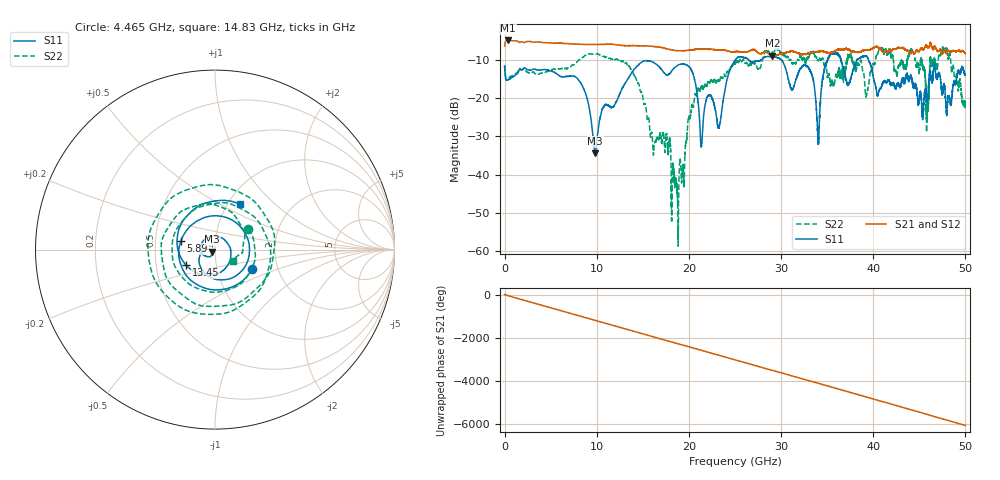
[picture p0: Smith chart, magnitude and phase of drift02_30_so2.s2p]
!Created with skrf (http://scikit-rf.org).
# Hz S RI R 50.0
!freq ReS11 ImS11 ReS21 ImS21 ReS12 ImS12 ReS22 ImS22
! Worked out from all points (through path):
!   10001 points, 300 kHz to 50 GHz, reference 50 ohm
!   highest |S21| = -5.04 dB at 375.3 MHz (marker M1); lowest = -9.0 dB at 29.06 GHz (marker M2)
!   group delay of S21, straight-line fit = 336 ps
!   lowest |S11| = -34.4 dB at 9.84 GHz (marker M3), VSWR 1.04, Z = 48.5 - j1.06 ohm
!   |S11| at or under -10 dB: start of sweep to 25.07 GHz; 29.98 GHz to 35.05 GHz (5.073 GHz wide, 15.6 % of centre); 39.47 GHz to end of sweep (the widest 3 of 9)
!   |S22| runs from -58.6 to -6.6 dB; largest |S21 - S12| = 0.021
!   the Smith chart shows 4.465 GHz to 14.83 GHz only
!   S11 on the Smith chart (normalised r, x): 4.465 GHz: 1.47, -0.34; 5.89 GHz: 0.68, +0.07; 13.45 GHz: 0.71, -0.13; 14.83 GHz: 1.14, +0.63
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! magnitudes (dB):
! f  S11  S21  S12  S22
! 300 kHz  -11.7  -6.5  -6.4  -11.5
! 375.3 MHz  -15.3  -5.0  -5.0  -14.9
! 4.465 GHz  -12.6  -5.6  -5.6  -13.3
! 5.89 GHz  -14.2  -5.7  -5.7  -12.5
! 8.335 GHz  -16.4  -6.0  -6.0  -9.6
! 9.84 GHz  -34.4  -6.1  -6.1  -8.5
! 13.45 GHz  -14.7  -6.4  -6.4  -11.6
! 14.83 GHz  -10.8  -6.4  -6.4  -18.5
! 16.67 GHz  -11.6  -6.7  -6.7  -30.6
! 18.68 GHz  -11.7  -7.7  -7.7  -43.6
! 20.37 GHz  -13.3  -7.5  -7.5  -21.9
! 21.37 GHz  -32.0  -7.2  -7.2  -16.9
! 23.31 GHz  -27.5  -7.6  -7.6  -15.6
! 25 GHz  -10.3  -8.0  -8.0  -11.1
! 29.06 GHz  -9.1  -9.0  -9.0  -8.2
! 33.34 GHz  -14.0  -8.1  -8.2  -8.1
! 34.02 GHz  -31.3  -7.9  -7.9  -10.2
! 35.51 GHz  -8.4  -8.1  -8.1  -15.6
! 41.67 GHz  -15.4  -7.7  -7.8  -7.5
! 45.85 GHz  -20.8  -6.6  -6.7  -19.7
! 47.77 GHz  -17.7  -7.6  -7.6  -7.4
! 50 GHz  -14.1  -8.5  -8.4  -20.8
